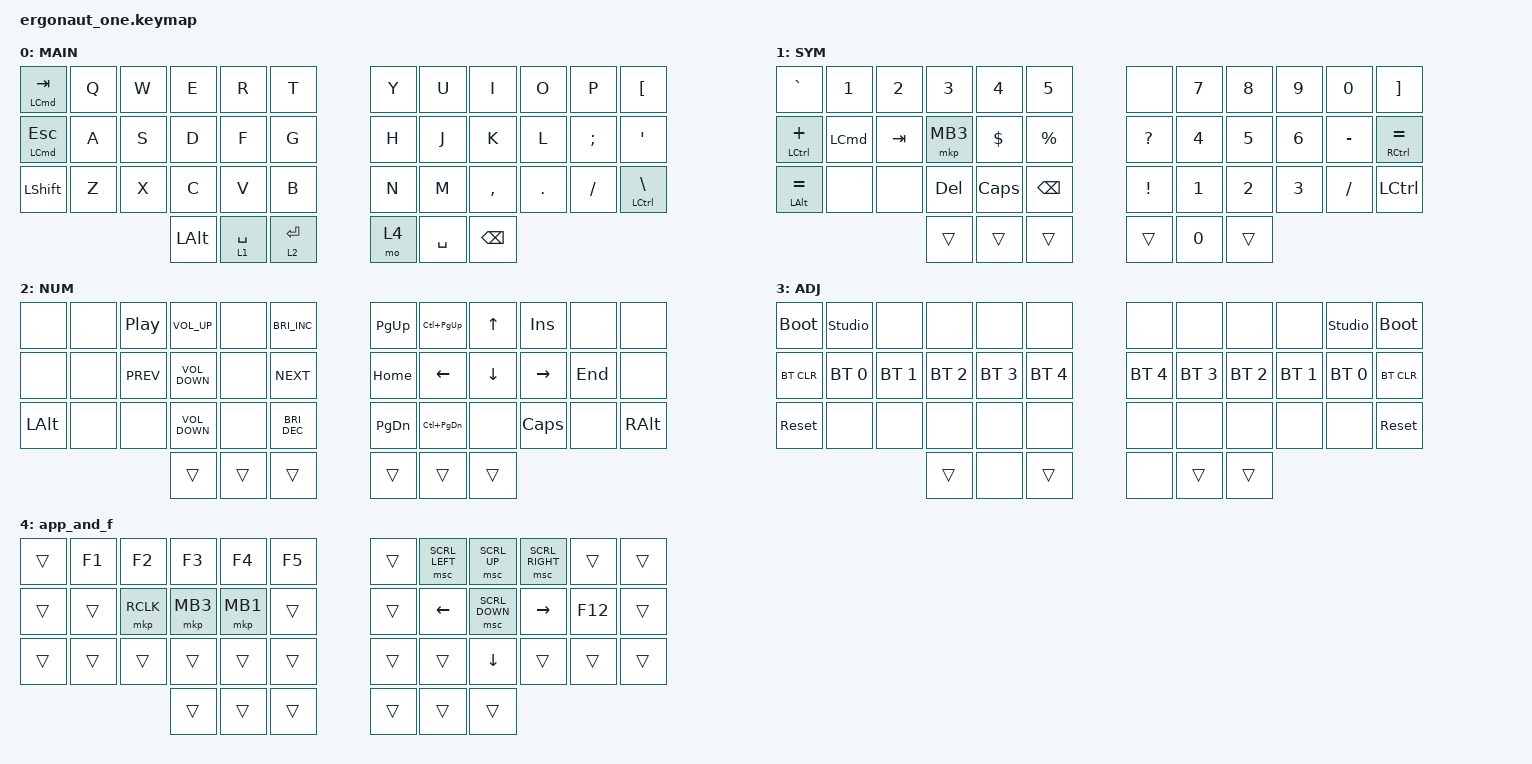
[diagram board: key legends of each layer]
#include <behaviors.dtsi>
#include <dt-bindings/zmk/bt.h>
#include <dt-bindings/zmk/keys.h>
#include <dt-bindings/zmk/pointing.h>

#define DEF 0
#define LWR 1
#define RSE 2
#define ADJ 3

&kscan0 {
    debounce-press-ms = <1>;
    debounce-release-ms = <25>;
};

&lt {
    quick-tap-ms = <0>;
    tapping-term-ms = <200>;
};

&mt {
    quick-tap-ms = <200>;
    tapping-term-ms = <180>;
};

/ {
    conditional_layers {
        compatible = "zmk,conditional-layers";

        tri-layer {
            if-layers = <1 2>;
            then-layer = <3>;
        };
    };

    combos {
        compatible = "zmk,combos";

        left_par {
            bindings = <&kp LEFT_PARENTHESIS>;
            key-positions = <16 15>;
            timeout-ms = <30>;
        };

        right_par {
            bindings = <&kp RIGHT_PARENTHESIS>;
            key-positions = <19 20>;
            timeout-ms = <30>;
        };

        lang_change {
            bindings = <&kp CAPS>;
            key-positions = <13 14>;
            timeout-ms = <30>;
        };

        lang_right {
            bindings = <&kp CAPS>;
            key-positions = <21 22>;
        };

        double_quote {
            bindings = <&kp LS(NUMBER_2)>;
            key-positions = <1 2>;
            timeout-ms = <30>;
        };

        colon {
            bindings = <&kp LS(NUMBER_7)>;
            key-positions = <7 8>;
            timeout-ms = <30>;
        };

        colon-rus {
            bindings = <&kp LS(NUMBER_6)>;
            key-positions = <18 19>;
            timeout-ms = <30>;
        };
    };

    keymap {
        compatible = "zmk,keymap";

        default_layer {
            display-name = "MAIN";
            bindings = <
&mt LEFT_COMMAND TAB     &kp Q  &kp W  &kp E         &kp R        &kp T      &kp Y  &kp U      &kp I          &kp O    &kp P     &kp LBKT
&mt LEFT_COMMAND ESCAPE  &kp A  &kp S  &kp D         &kp F        &kp G      &kp H  &kp J      &kp K          &kp L    &kp SEMI  &kp SQT
&kp LEFT_SHIFT           &kp Z  &kp X  &kp C         &kp V        &kp B      &kp N  &kp M      &kp COMMA      &kp DOT  &kp FSLH  &mt LCTRL BSLH
                                       &kp LEFT_ALT  &lt 1 SPACE  &lt 2 RET  &mo 4  &kp SPACE  &kp BACKSPACE
            >;
        };

        lower_layer {
            display-name = "SYM";
            bindings = <
&kp GRAVE       &kp N1            &kp N2   &kp N3      &kp N4        &kp N5         &none            &kp N7        &kp N8  &kp N9        &kp N0     &kp RBKT
&mt LCTRL PLUS  &kp LEFT_COMMAND  &kp TAB  &mkp MB3    &kp DLLR      &kp PRCNT      &kp QUESTION     &kp N4        &kp N5  &kp NUMBER_6  &kp MINUS  &mt RCTRL EQUAL
&mt LALT EQUAL  &none             &none    &kp DELETE  &kp CAPSLOCK  &kp BACKSPACE  &kp EXCLAMATION  &kp NUMBER_1  &kp N2  &kp N3        &kp SLASH  &kp LCTRL
                                           &trans      &trans        &trans         &trans           &kp N0        &trans
            >;
        };

        raise_layer {
            display-name = "NUM";
            bindings = <
&none         &none  &kp C_PLAY_PAUSE  &kp C_VOL_UP       &none   &kp C_BRIGHTNESS_INC  &kp PAGE_UP    &kp LC(PAGE_UP)    &kp UP_ARROW    &kp INS       &none    &none
&none         &none  &kp C_PREV        &kp C_VOLUME_DOWN  &none   &kp C_NEXT            &kp HOME       &kp LEFT           &kp DOWN_ARROW  &kp RIGHT     &kp END  &none
&kp LEFT_ALT  &none  &none             &kp C_VOLUME_DOWN  &none   &kp C_BRIGHTNESS_DEC  &kp PAGE_DOWN  &kp LC(PAGE_DOWN)  &none           &kp CAPSLOCK  &none    &kp RALT
                                       &trans             &trans  &trans                &trans         &trans             &trans
            >;
        };

        adjust_layer {
            display-name = "ADJ";
            bindings = <
&bootloader  &studio_unlock  &none         &none         &none         &none         &none         &none         &none         &none         &studio_unlock  &bootloader
&bt BT_CLR   &bt BT_SEL 0    &bt BT_SEL 1  &bt BT_SEL 2  &bt BT_SEL 3  &bt BT_SEL 4  &bt BT_SEL 4  &bt BT_SEL 3  &bt BT_SEL 2  &bt BT_SEL 1  &bt BT_SEL 0    &bt BT_CLR
&sys_reset   &none           &none         &none         &none         &none         &none         &none         &none         &none         &none           &sys_reset
                                           &trans        &none         &trans        &none         &trans        &trans
            >;
        };

        app_and_f {
            bindings = <
&trans  &kp F1  &kp F2     &kp F3    &kp F4    &kp F5  &trans  &msc SCRL_LEFT  &msc SCRL_UP    &msc SCRL_RIGHT  &trans   &trans
&trans  &trans  &mkp RCLK  &mkp MB3  &mkp MB1  &trans  &trans  &kp LEFT_ARROW  &msc SCRL_DOWN  &kp RIGHT_ARROW  &kp F12  &trans
&trans  &trans  &trans     &trans    &trans    &trans  &trans  &trans          &kp DOWN_ARROW  &trans           &trans   &trans
                           &trans    &trans    &trans  &trans  &trans          &trans
            >;
        };
    };
};
